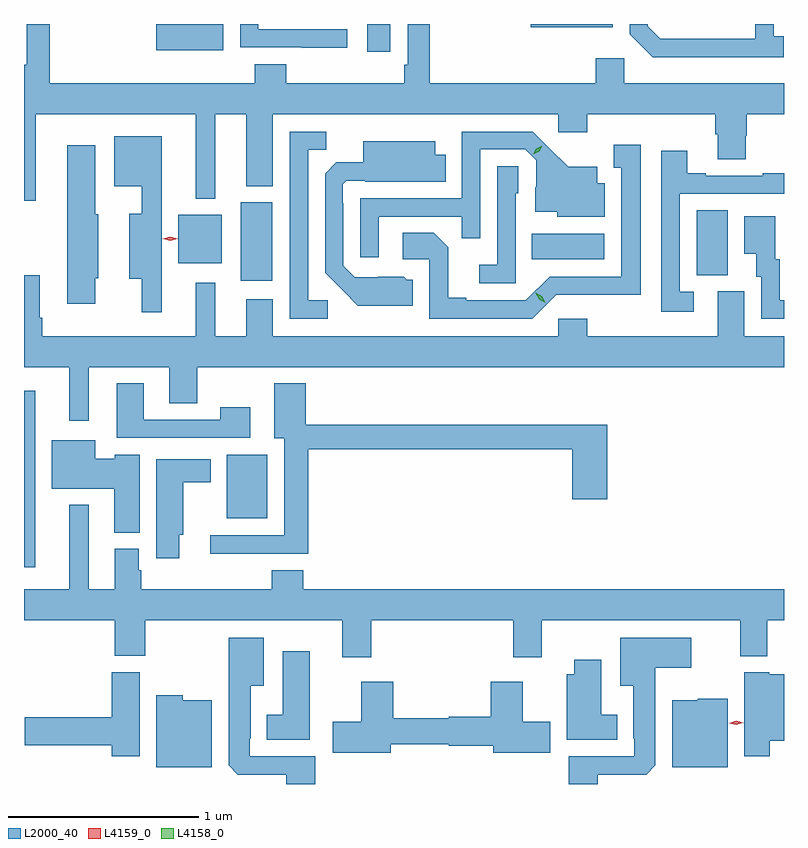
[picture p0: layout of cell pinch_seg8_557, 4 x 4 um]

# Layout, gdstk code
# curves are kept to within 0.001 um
import gdstk
lib = gdstk.Library(unit=1e-6, precision=1e-09)
def R(c, l, rs):  # rectangles x0, y0, x1, y1
    for r in rs: c.add(gdstk.rectangle(r[:2], r[2:], *l))
def P(c, l, *ps):  # polygons
    for p in ps: c.add(gdstk.Polygon(p, *l))
L2000_40 = (2000, 40)
L4158_0 = (4158, 0)
L4159_0 = (4159, 0)

pinch_seg8_557 = lib.new_cell('pinch_seg8_557')
R(pinch_seg8_557, L2000_40, [(170.882,1111.451,170.941,1112.38), (171.95,1111.709,172.162,1112.044), (172.022,1112.961,172.189,1113.373), (174.422,1112.989,174.586,1113.332), (171.695,1113.053,171.922,1113.307), (173.554,1113.074,173.935,1113.208), (172.688,1114.164,172.81,1114.311), (171.578,1114.172,171.931,1114.311), (173.55,1114.294,173.98,1114.311)])
P(pinch_seg8_557, L2000_40, [(174.88,1114.246),(174.828,1114.246),(174.828,1114.311),(174.731,1114.311),(174.731,1114.233),(174.231,1114.233),(174.165,1114.299),(174.165,1114.311),(174.069,1114.311),(174.069,1114.257),(174.19,1114.136),(174.88,1114.136)],
  [(172.582,1114.284),(172.116,1114.284),(172.116,1114.311),(172.02,1114.311),(172.02,1114.188),(172.345,1114.188),(172.345,1114.187),(172.582,1114.187)],
  [(170.944,1113.836),(171.785,1113.836),(171.785,1113.392),(171.889,1113.392),(171.889,1113.836),(172.052,1113.836),(172.052,1113.458),(172.192,1113.458),(172.192,1113.836),(173.694,1113.836),(173.694,1113.741),(173.846,1113.741),(173.846,1113.836),(174.521,1113.836),(174.521,1113.73),(174.533,1113.73),(174.533,1113.598),(174.681,1113.598),(174.681,1113.723),(174.686,1113.723),(174.686,1113.836),(174.882,1113.836),(174.882,1114),(174.042,1114),(174.042,1114.132),(173.891,1114.132),(173.891,1114),(173.018,1114),(173.018,1114.309),(172.902,1114.309),(172.902,1114.096),(172.882,1114.096),(172.882,1114),(172.262,1114),(172.262,1114.099),(172.097,1114.099),(172.097,1114),(171.017,1114),(171.017,1114.311),(170.896,1114.311),(170.896,1114.096),(170.882,1114.096),(170.882,1113.381),(170.944,1113.381)],
  [(172.48,1112.856),(172.377,1112.856),(172.377,1113.649),(172.473,1113.649),(172.473,1113.744),(172.281,1113.744),(172.281,1112.76),(172.48,1112.76)],
  [(172.749,1113.297),(173.185,1113.297),(173.185,1113.184),(173.283,1113.184),(173.283,1113.651),(173.52,1113.651),(173.577,1113.594),(173.577,1113.452),(173.573,1113.452),(173.573,1113.323),(173.688,1113.323),(173.688,1113.296),(173.938,1113.296),(173.938,1113.472),(173.899,1113.472),(173.899,1113.559),(173.747,1113.559),(173.56,1113.744),(173.187,1113.744),(173.187,1113.393),(172.653,1113.393),(172.653,1113.084),(172.749,1113.084)],
  [(171.607,1113.721),(171.356,1113.721),(171.356,1113.458),(171.503,1113.458),(171.503,1113.313),(171.437,1113.313),(171.437,1112.969),(171.503,1112.969),(171.503,1112.793),(171.607,1112.793)],
  [(172.927,1112.964),(172.896,1112.964),(172.88,1112.98),(172.623,1112.979),(172.563,1113.039),(172.563,1113.368),(172.56,1113.368),(172.56,1113.468),(172.578,1113.486),(172.678,1113.486),(172.678,1113.482),(173.102,1113.482),(173.102,1113.622),(173.047,1113.622),(173.047,1113.694),(172.667,1113.694),(172.667,1113.583),(172.526,1113.583),(172.467,1113.524),(172.467,1113.002),(172.639,1112.828),(172.927,1112.828)],
  [(173.682,1112.886),(174.127,1112.885),(174.127,1113.676),(173.987,1113.676),(173.987,1113.555),(174.026,1113.555),(174.026,1112.982),(173.649,1112.982),(173.523,1112.856),(173.209,1112.856),(173.209,1112.869),(173.115,1112.869),(173.115,1113.136),(173.039,1113.212),(172.875,1113.212),(172.875,1113.072),(173.016,1113.072),(173.016,1112.76),(173.556,1112.76)],
  [(171.256,1112.973),(171.274,1112.973),(171.274,1113.309),(171.256,1113.309),(171.256,1113.673),(171.11,1113.673),(171.11,1112.838),(171.256,1112.838)],
  [(174.406,1112.901),(174.333,1112.901),(174.333,1113.417),(174.882,1113.417),(174.882,1113.526),(174.769,1113.526),(174.769,1113.513),(174.469,1113.513),(174.469,1113.526),(174.373,1113.526),(174.373,1113.643),(174.237,1113.643),(174.237,1112.796),(174.406,1112.796)],
  [(173.469,1113.42),(173.484,1113.42),(173.484,1113.563),(173.373,1113.563),(173.373,1113.043),(173.277,1113.043),(173.277,1112.946),(173.469,1112.946)],
  [(174.882,1112.856),(174.859,1112.856),(174.859,1113.072),(174.835,1113.072),(174.835,1113.298),(174.674,1113.298),(174.674,1113.101),(174.737,1113.101),(174.737,1112.982),(174.762,1112.982),(174.762,1112.76),(174.882,1112.76)],
  [(171.223,1112.504),(171.647,1112.504),(171.647,1112.314),(171.795,1112.314),(171.795,1112.504),(174.882,1112.504),(174.882,1112.668),(174.673,1112.668),(174.673,1112.904),(174.533,1112.904),(174.533,1112.668),(173.846,1112.668),(173.846,1112.761),(173.694,1112.761),(173.694,1112.668),(172.192,1112.668),(172.192,1112.863),(172.052,1112.863),(172.052,1112.668),(171.889,1112.668),(171.889,1112.95),(171.785,1112.95),(171.785,1112.668),(170.978,1112.668),(170.978,1112.764),(170.965,1112.764),(170.965,1112.989),(170.882,1112.989),(170.882,1112.504),(171.119,1112.504),(171.119,1112.223),(171.223,1112.223)],
  [(172.072,1112.293),(171.916,1112.293),(171.916,1112.229),(171.511,1112.229),(171.511,1112.419),(171.371,1112.419),(171.371,1112.133),(172.072,1112.133)],
  [(172.379,1112.074),(173.768,1112.074),(173.768,1111.809),(173.951,1111.809),(173.951,1112.203),(172.366,1112.203),(172.366,1112.419),(172.199,1112.419),(172.199,1112.132),(172.253,1112.132),(172.253,1111.62),(171.861,1111.62),(171.861,1111.523),(172.379,1111.523)],
  [(171.49,1112.044),(171.36,1112.044),(171.36,1112.023),(171.256,1112.023),(171.256,1112.119),(171.029,1112.119),(171.029,1111.865),(171.356,1111.865),(171.356,1111.633),(171.49,1111.633)],
  [(171.7,1111.623),(171.721,1111.623),(171.721,1111.898),(171.865,1111.898),(171.865,1112.02),(171.578,1112.02),(171.578,1111.5),(171.7,1111.5)],
  [(172.709,1111.172),(173.456,1111.172),(173.456,1110.978),(173.608,1110.978),(173.608,1111.172),(174.653,1111.172),(174.653,1110.983),(174.793,1110.983),(174.793,1111.172),(174.882,1111.172),(174.882,1111.336),(172.352,1111.336),(172.352,1111.435),(172.187,1111.435),(172.187,1111.336),(171.5,1111.336),(171.5,1111.437),(171.487,1111.437),(171.487,1111.548),(171.359,1111.548),(171.359,1111.336),(171.223,1111.336),(171.223,1111.78),(171.119,1111.78),(171.119,1111.336),(170.882,1111.336),(170.882,1111.172),(171.359,1111.172),(171.359,1110.985),(171.519,1110.985),(171.519,1111.172),(172.556,1111.172),(172.556,1110.978),(172.709,1110.978)],
  [(172.415,1110.456),(172.071,1110.456),(172.071,1110.553),(172.075,1110.553),(172.075,1110.827),(172.144,1110.827),(172.144,1111.081),(171.959,1111.081),(171.959,1110.409),(172.008,1110.36),(172.262,1110.36),(172.262,1110.311),(172.415,1110.311)],
  [(173.902,1110.36),(174.156,1110.36),(174.205,1110.409),(174.205,1110.923),(174.394,1110.923),(174.394,1111.081),(174.02,1111.081),(174.02,1110.827),(174.089,1110.827),(174.089,1110.553),(174.093,1110.553),(174.093,1110.456),(173.75,1110.456),(173.75,1110.311),(173.902,1110.311)],
  [(172.387,1111.009),(172.244,1111.009),(172.244,1110.676),(172.16,1110.676),(172.16,1110.545),(172.387,1110.545)],
  [(174.004,1110.676),(173.92,1110.676),(173.92,1110.964),(173.777,1110.964),(173.777,1110.889),(173.738,1110.889),(173.738,1110.545),(174.004,1110.545)],
  [(171.49,1110.9),(171.344,1110.9),(171.344,1110.662),(170.886,1110.662),(170.886,1110.515),(171.344,1110.515),(171.344,1110.456),(171.49,1110.456)],
  [(174.808,1110.539),(174.882,1110.539),(174.882,1110.889),(174.804,1110.889),(174.804,1110.898),(174.674,1110.898),(174.674,1110.456),(174.808,1110.456)],
  [(172.813,1110.52),(173.118,1110.52),(173.118,1110.512),(173.351,1110.512),(173.351,1110.476),(173.653,1110.476),(173.653,1110.639),(173.506,1110.639),(173.506,1110.85),(173.339,1110.85),(173.339,1110.664),(173.118,1110.664),(173.118,1110.656),(172.826,1110.656),(172.826,1110.85),(172.658,1110.85),(172.658,1110.639),(172.506,1110.639),(172.506,1110.476),(172.813,1110.476)],
  [(171.871,1110.751),(171.717,1110.751),(171.717,1110.778),(171.578,1110.778),(171.578,1110.398),(171.871,1110.398)],
  [(174.586,1110.76),(174.429,1110.76),(174.429,1110.751),(174.293,1110.751),(174.293,1110.398),(174.586,1110.398)])
P(pinch_seg8_557, L4158_0, [(173.625,1112.844),(173.594,1112.863),(173.576,1112.895),(173.576,1112.896),(173.576,1112.896),(173.608,1112.877),(173.626,1112.844),(173.626,1112.844)],
  [(173.562,1113.625),(173.562,1113.626),(173.579,1113.655),(173.609,1113.671),(173.609,1113.671),(173.609,1113.671),(173.593,1113.641),(173.562,1113.625)])
P(pinch_seg8_557, L4159_0, [(174.631,1110.623),(174.593,1110.632),(174.593,1110.632),(174.593,1110.632),(174.63,1110.643),(174.668,1110.634),(174.668,1110.634),(174.668,1110.633)],
  [(171.651,1113.17),(171.611,1113.18),(171.611,1113.18),(171.611,1113.18),(171.651,1113.19),(171.691,1113.18),(171.691,1113.18),(171.691,1113.18)])

lib.write_gds('pinch_seg8_557.gds')
